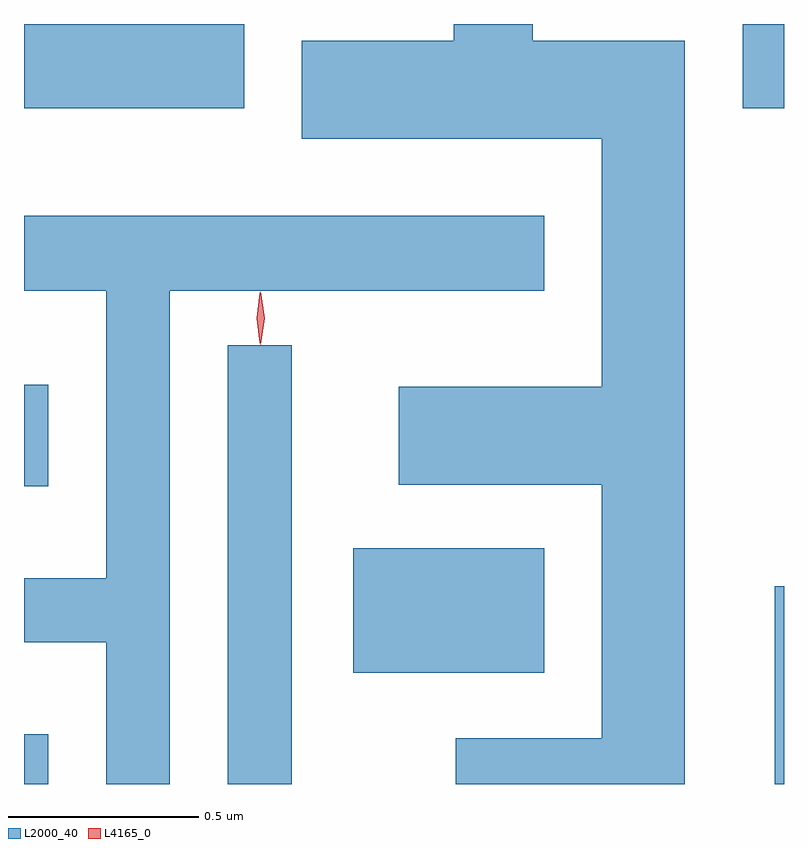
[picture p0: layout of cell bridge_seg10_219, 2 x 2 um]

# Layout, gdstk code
import gdstk
lib = gdstk.Library(unit=1e-6, precision=1e-09)
def R(c, l, rs):  # rectangles x0, y0, x1, y1
    for r in rs: c.add(gdstk.rectangle(r[:2], r[2:], *l))
def P(c, l, *ps):  # polygons
    for p in ps: c.add(gdstk.Polygon(p, *l))
L2000_40 = (2000, 40)
L4165_0 = (4165, 0)

bridge_seg10_219 = lib.new_cell('bridge_seg10_219')
R(bridge_seg10_219, L2000_40, [(1711.425,2141.018,1711.489,2141.149), (1711.961,2141.018,1712.129,2142.173), (1713.401,2141.018,1713.425,2141.539), (1712.291,2141.311,1712.794,2141.639), (1711.425,2141.801,1711.489,2142.069), (1711.425,2142.796,1712.004,2143.018), (1713.316,2142.796,1713.425,2143.018)])
P(bridge_seg10_219, L2000_40, [(1713.164,2142.974),(1712.764,2142.974),(1712.764,2143.018),(1712.556,2143.018),(1712.556,2142.974),(1712.156,2142.974),(1712.156,2142.716),(1712.946,2142.716),(1712.946,2142.064),(1712.411,2142.064),(1712.411,2141.806),(1712.946,2141.806),(1712.946,2141.139),(1712.561,2141.139),(1712.561,2141.018),(1713.164,2141.018)],
  [(1711.809,2142.316),(1712.794,2142.316),(1712.794,2142.514),(1711.425,2142.514),(1711.425,2142.316),(1711.641,2142.316),(1711.641,2141.559),(1711.425,2141.559),(1711.425,2141.391),(1711.641,2141.391),(1711.641,2141.018),(1711.809,2141.018)])
P(bridge_seg10_219, L4165_0, [(1712.046,2142.178),(1712.037,2142.244),(1712.046,2142.311),(1712.047,2142.311),(1712.047,2142.311),(1712.057,2142.244),(1712.047,2142.178),(1712.047,2142.178)],
  [(1712.048,2142.174),(1712.048,2142.175),(1712.038,2142.244),(1712.048,2142.313),(1712.048,2142.314),(1712.048,2142.313),(1712.058,2142.244),(1712.048,2142.175)])

lib.write_gds('bridge_seg10_219.gds')
